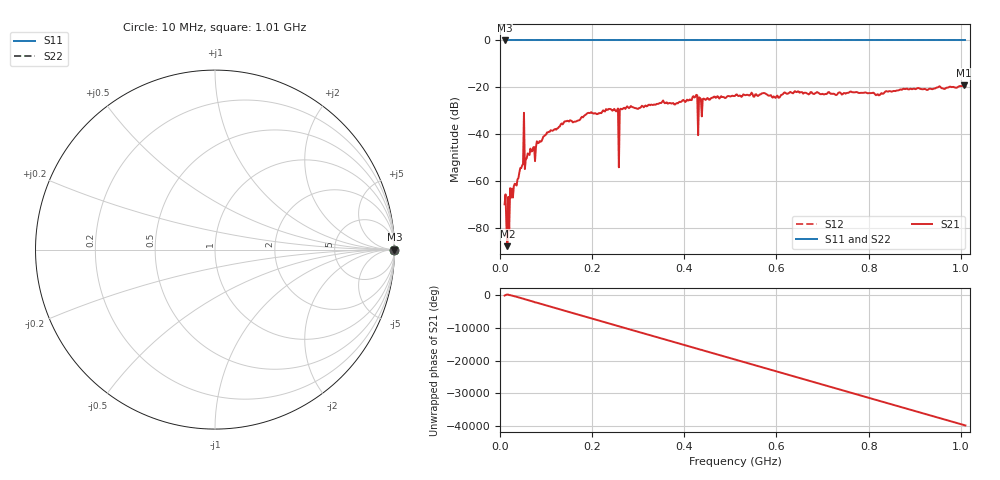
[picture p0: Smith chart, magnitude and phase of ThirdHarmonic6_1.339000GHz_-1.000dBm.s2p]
! 8/16/2025 3:01:05 PM
! C:\ANRITSUVNA\TEMP\TEMP.S2P
! CHANNEL.1
! TR.MEASUREMENT
! RAW.DATA
! RF.CORRECTION.OFF
! AVERAGING.OFF
! IF.BANDWIDTH: 5KHZ
! SWEEPTYPE:  FREQ.SWEEP(Linear)
! Reference Plane Port Info
! PORT:  PORT1  PORT2
! DISTANCE:  0  m  0  m
! TIME:  0  s  0  s
! PHASE.OFFSET:  0  deg.  0  deg.
! LOSS:  0  dB  0  dB
! REF.LOSS:  0  dB  0  dB
! REF.FREQ:  0  Hz  0  Hz
! Power Info
! POWER:  -20  dBm  -20  dBm
! EFF.POWER:  -20  dBm  -20  dBm
! SOURCE.ATTEN:  0  dB  0  dB
! TEST.ATTEN:  0  dB  0  dB
# GHZ S RI R 50.0
! FREQ.GHZ  S11RE  S11IM  S21RE  S21IM  S12RE  S12IM  S22RE  S22IM
!; PortSelection: Port_12
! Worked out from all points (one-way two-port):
!   501 points, 10 MHz to 1.01 GHz, reference 50 ohm
!   highest |S21| = -19.19 dB at 1.006 GHz (marker M1); lowest = -87.6 dB at 16 MHz (marker M2)
!   lowest |S11| = 0.0 dB at 10 MHz (marker M3)
!   |S11| at or under -10 dB: nowhere
!   |S22| runs from 0.0 to 0.0 dB; largest |S21 - S12| = 1.1
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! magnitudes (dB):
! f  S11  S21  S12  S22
! 10 MHz  0.0  -69.8  0.0  0.0
! 16 MHz  0.0  -87.6  0.0  0.0
! 26 MHz  0.0  -63.1  0.0  0.0
! 46 MHz  0.0  -54.3  0.0  0.0
! 48 MHz  0.0  -53.3  0.0  0.0
! 56 MHz  0.0  -50.5  0.0  0.0
! 58 MHz  0.0  -50.3  0.0  0.0
! 106 MHz  0.0  -38.9  0.0  0.0
! 178 MHz  0.0  -32.5  0.0  0.0
! 252 MHz  0.0  -30.2  0.0  0.0
! 256 MHz  0.0  -29.0  0.0  0.0
! 262 MHz  0.0  -29.1  0.0  0.0
! 264 MHz  0.0  -29.3  0.0  0.0
! 344 MHz  0.0  -27.0  0.0  0.0
! 424 MHz  0.0  -24.0  0.0  0.0
! 434 MHz  0.0  -24.5  0.0  0.0
! 444 MHz  0.0  -25.0  0.0  0.0
! 510 MHz  0.0  -23.6  0.0  0.0
! 678 MHz  0.0  -22.5  0.0  0.0
! 844 MHz  0.0  -21.6  0.0  0.0
! 1.006 GHz  0.0  -19.2  0.0  0.0
! 1.01 GHz  0.0  -19.7  0.0  0.0
